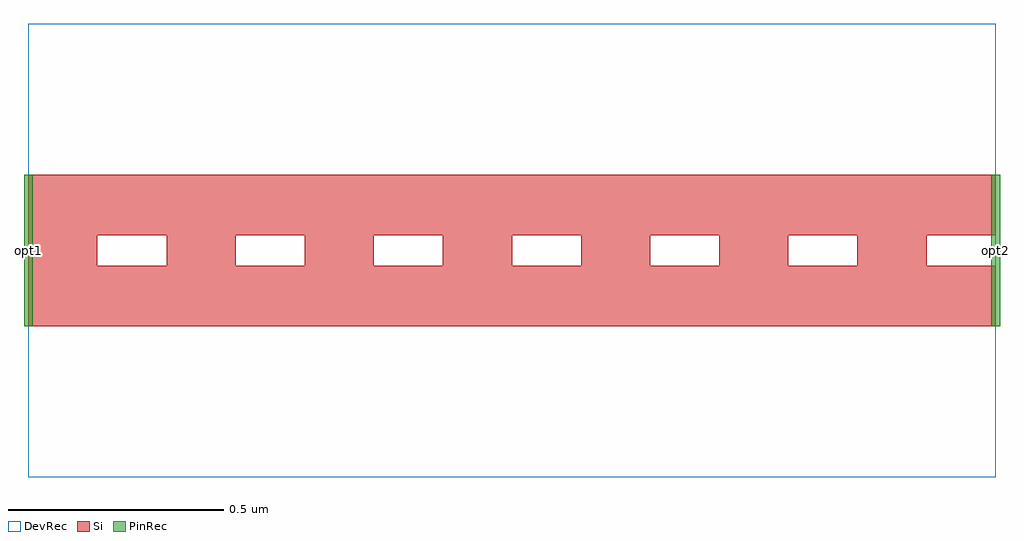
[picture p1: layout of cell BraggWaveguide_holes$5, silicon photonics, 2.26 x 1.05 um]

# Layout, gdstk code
import gdstk
lib = gdstk.Library(unit=1e-6, precision=1e-09)
def R(c, l, rs):  # rectangles x0, y0, x1, y1
    for r in rs: c.add(gdstk.rectangle(r[:2], r[2:], *l))
def A(c, l, x, y, w, h, nx, ny, dx, dy):  # array of equal rectangles
    R(c, l, [(x+i*dx, y+j*dy, x+i*dx+w, y+j*dy+h) for i in range(nx) for j in range(ny)])
Si = (1, 0)
PinRec = (1, 10)
DevRec = (68, 0)

braggwaveguide_holes_5 = lib.new_cell('BraggWaveguide_holes$5')
A(braggwaveguide_holes_5, Si, 0, -0.175, 0.16, 0.35, 7, 1, 0.32, 0)
A(braggwaveguide_holes_5, Si, 0.16, -0.175, 0.16, 0.14, 7, 2, 0.32, 0.21)
R(braggwaveguide_holes_5, DevRec, [(0,-0.525,2.24,0.525)])
braggwaveguide_holes_5.add(gdstk.FlexPath([(0.01,0),(-0.01,0)], 0.35, ends="flush", simple_path=True, layer=1, datatype=10))  # PinRec
braggwaveguide_holes_5.add(gdstk.FlexPath([(2.23,0),(2.25,0)], 0.35, ends="flush", simple_path=True, layer=1, datatype=10))  # PinRec
braggwaveguide_holes_5.add(gdstk.Label('opt1', (0,0), layer=1, texttype=10))
braggwaveguide_holes_5.add(gdstk.Label('opt2', (2.24,0), layer=1, texttype=10))
braggwaveguide_holes_5.add(gdstk.Label('Lumerical_INTERCONNECT_library=Design kits/ebeam', (0,0), layer=68, texttype=0))
braggwaveguide_holes_5.add(gdstk.Label('Component=ebeam_bragg_te1550', (0.224,0), layer=68, texttype=0))
braggwaveguide_holes_5.add(gdstk.Label('Spice_param:number_of_periods=7 grating_period=3.2e-07 hole_width=7e-08 fill_factor=0.5', (0.248,0), layer=68, texttype=0))

lib.write_gds('BraggWaveguide_holes_5.gds')
